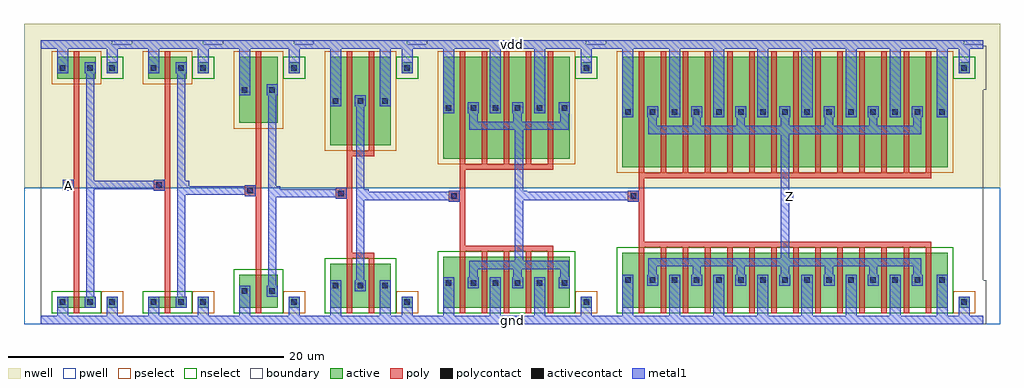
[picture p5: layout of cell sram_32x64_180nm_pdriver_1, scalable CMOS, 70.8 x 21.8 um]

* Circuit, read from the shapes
.subckt sram_32x64_180nm_pdriver_1 A Z gnd vdd
M1 sram_32x64_180nm_pinv_8_1/A A gnd gnd nfet w=0.8u l=0.4u
M2 sram_32x64_180nm_pinv_9_2/A sram_32x64_180nm_pinv_8_1/A gnd gnd nfet w=0.8u l=0.4u
M3 sram_32x64_180nm_pinv_10_3/A sram_32x64_180nm_pinv_9_2/A gnd gnd nfet w=2.4u l=0.4u
M4 sram_32x64_180nm_pinv_11_4/A sram_32x64_180nm_pinv_10_3/A gnd gnd nfet w=3.2u l=0.4u m=2
M5 sram_32x64_180nm_pinv_12_5/A sram_32x64_180nm_pinv_11_4/A gnd gnd nfet w=3.7u l=0.4u m=5
M6 Z sram_32x64_180nm_pinv_12_5/A gnd gnd nfet w=4u l=0.4u m=14
M7 sram_32x64_180nm_pinv_8_1/A A vdd vdd pfet w=1.6u l=0.4u
M8 sram_32x64_180nm_pinv_9_2/A sram_32x64_180nm_pinv_8_1/A vdd vdd pfet w=1.6u l=0.4u
M9 sram_32x64_180nm_pinv_10_3/A sram_32x64_180nm_pinv_9_2/A vdd vdd pfet w=4.8u l=0.4u
M10 sram_32x64_180nm_pinv_11_4/A sram_32x64_180nm_pinv_10_3/A vdd vdd pfet w=6.4u l=0.4u m=2
M11 sram_32x64_180nm_pinv_12_5/A sram_32x64_180nm_pinv_11_4/A vdd vdd pfet w=7.4u l=0.4u m=5
M12 Z sram_32x64_180nm_pinv_12_5/A vdd vdd pfet w=8u l=0.4u m=14
.ends

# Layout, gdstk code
import gdstk
lib = gdstk.Library(unit=1e-6, precision=1e-09)
def R(c, l, rs):  # rectangles x0, y0, x1, y1
    for r in rs: c.add(gdstk.rectangle(r[:2], r[2:], *l))
def A(c, l, x, y, w, h, nx, ny, dx, dy):  # array of equal rectangles
    R(c, l, [(x+i*dx, y+j*dy, x+i*dx+w, y+j*dy+h) for i in range(nx) for j in range(ny)])
pwell = (41, 0)
nwell = (42, 0)
active = (43, 0)
pselect = (44, 0)
nselect = (45, 0)
poly = (46, 0)
polycontact = (47, 0)
activecontact = (48, 0)
metal1 = (49, 0)
boundary = (63, 0)

sram_32x64_180nm_contact = lib.new_cell('sram_32x64_180nm_contact_12')
R(sram_32x64_180nm_contact, nwell, [(-1.2,-1.2,2,2)])
R(sram_32x64_180nm_contact, active, [(0,0,0.8,0.8)])
R(sram_32x64_180nm_contact, pselect, [(-0.4,-0.4,1.2,1.2)])
R(sram_32x64_180nm_contact, activecontact, [(0.2,0.2,0.6,0.6)])
R(sram_32x64_180nm_contact, metal1, [(0,0,0.8,0.8)])
R(sram_32x64_180nm_contact, boundary, [(-1.2,-1.2,2,2)])

sram_32x64_180nm_pmos_m1 = lib.new_cell('sram_32x64_180nm_pmos_m1_w1_600_sm1_dm1_da_p')
R(sram_32x64_180nm_pmos_m1, nwell, [(-1.2,-1.2,4,2.8)])
R(sram_32x64_180nm_pmos_m1, active, [(0,0,2.8,1.6)])
R(sram_32x64_180nm_pmos_m1, pselect, [(-0.4,-0.4,3.2,2)])
R(sram_32x64_180nm_pmos_m1, poly, [(1.2,-0.4,1.6,2), (1.2,-0.4,1.6,2)])
R(sram_32x64_180nm_pmos_m1, metal1, [(0,0.4,0.8,1.2), (2,0.4,2.8,1.2)])
R(sram_32x64_180nm_pmos_m1, boundary, [(-1.2,-1.2,4,2.8)])
sram_32x64_180nm_pmos_m1.add(gdstk.Reference(sram_32x64_180nm_contact, (0,0.4)))
sram_32x64_180nm_pmos_m1.add(gdstk.Reference(sram_32x64_180nm_contact, (2,0.4)))
sram_32x64_180nm_pmos_m1.add(gdstk.Label('G', (1.4,0.8), layer=46, texttype=0))
sram_32x64_180nm_pmos_m1.add(gdstk.Label('S', (0.4,0.8), layer=49, texttype=0))
sram_32x64_180nm_pmos_m1.add(gdstk.Label('D', (2.4,0.8), layer=49, texttype=0))

c_sram_32x64_180nm_contact = lib.new_cell('sram_32x64_180nm_contact_11')
R(c_sram_32x64_180nm_contact, pwell, [(-1.2,-1.2,2,2)])
R(c_sram_32x64_180nm_contact, active, [(0,0,0.8,0.8)])
R(c_sram_32x64_180nm_contact, nselect, [(-0.4,-0.4,1.2,1.2)])
R(c_sram_32x64_180nm_contact, activecontact, [(0.2,0.2,0.6,0.6)])
R(c_sram_32x64_180nm_contact, metal1, [(0,0,0.8,0.8)])
R(c_sram_32x64_180nm_contact, boundary, [(-1.2,-1.2,2,2)])

sram_32x64_180nm_nmos_m1 = lib.new_cell('sram_32x64_180nm_nmos_m1_w0_800_sm1_dm1_da_p')
R(sram_32x64_180nm_nmos_m1, pwell, [(-1.2,-1.2,4,2)])
R(sram_32x64_180nm_nmos_m1, active, [(0,0,2.8,0.8)])
R(sram_32x64_180nm_nmos_m1, nselect, [(-0.4,-0.4,3.2,1.2)])
R(sram_32x64_180nm_nmos_m1, poly, [(1.2,-0.4,1.6,1.2), (1.2,-0.4,1.6,1.2)])
R(sram_32x64_180nm_nmos_m1, metal1, [(0,0,0.8,0.8), (2,0,2.8,0.8)])
R(sram_32x64_180nm_nmos_m1, boundary, [(-1.2,-1.2,4,2)])
sram_32x64_180nm_nmos_m1.add(gdstk.Reference(c_sram_32x64_180nm_contact, (0,0)))
sram_32x64_180nm_nmos_m1.add(gdstk.Reference(c_sram_32x64_180nm_contact, (2,0)))
sram_32x64_180nm_nmos_m1.add(gdstk.Label('G', (1.4,0.4), layer=46, texttype=0))
sram_32x64_180nm_nmos_m1.add(gdstk.Label('S', (0.4,0.4), layer=49, texttype=0))
sram_32x64_180nm_nmos_m1.add(gdstk.Label('D', (2.4,0.4), layer=49, texttype=0))

c_sram_32x64_180nm_contact_ = lib.new_cell('sram_32x64_180nm_contact_13')
R(c_sram_32x64_180nm_contact_, nwell, [(-1.2,-1.2,2,2)])
R(c_sram_32x64_180nm_contact_, active, [(0,0,0.8,0.8)])
R(c_sram_32x64_180nm_contact_, nselect, [(-0.4,-0.4,1.2,1.2)])
R(c_sram_32x64_180nm_contact_, activecontact, [(0.2,0.2,0.6,0.6)])
R(c_sram_32x64_180nm_contact_, metal1, [(0,0,0.8,0.8)])
R(c_sram_32x64_180nm_contact_, boundary, [(-1.2,-1.2,2,2)])

c_sram_32x64_180nm_contact__ = lib.new_cell('sram_32x64_180nm_contact_14')
R(c_sram_32x64_180nm_contact__, pwell, [(-1.2,-1.2,2,2)])
R(c_sram_32x64_180nm_contact__, active, [(0,0,0.8,0.8)])
R(c_sram_32x64_180nm_contact__, pselect, [(-0.4,-0.4,1.2,1.2)])
R(c_sram_32x64_180nm_contact__, activecontact, [(0.2,0.2,0.6,0.6)])
R(c_sram_32x64_180nm_contact__, metal1, [(0,0,0.8,0.8)])
R(c_sram_32x64_180nm_contact__, boundary, [(-1.2,-1.2,2,2)])

c_sram_32x64_180nm_contact___ = lib.new_cell('sram_32x64_180nm_contact_15')
R(c_sram_32x64_180nm_contact___, poly, [(0,0,0.8,0.8)])
R(c_sram_32x64_180nm_contact___, polycontact, [(0.2,0.2,0.6,0.6)])
R(c_sram_32x64_180nm_contact___, metal1, [(0,0,0.8,0.8)])
R(c_sram_32x64_180nm_contact___, boundary, [(0,0,0.8,0.8)])

sram_32x64_180nm_pinv_8 = lib.new_cell('sram_32x64_180nm_pinv_8')
R(sram_32x64_180nm_pinv_8, pwell, [(-1.2,-0.3,7.8,9.6)])
R(sram_32x64_180nm_pinv_8, nwell, [(-1.2,9.6,7.8,21.5)])
R(sram_32x64_180nm_pinv_8, poly, [(2.4,2.1,2.8,17.1), (2,9.4,2.4,10.2)])
R(sram_32x64_180nm_pinv_8, metal1, [(0,-0.3,6.6,0.3), (1.2,-0.3,2,0.9), (4.8,0,5.6,1.3), (3.3,0.9,3.9,18.7), (1.6,9.4,2.4,10.2), (3.6,9.5,4.2,10.1), (1.2,17.9,2,20.3), (4.8,18.3,5.6,20), (0,19.7,6.6,20.3)])
R(sram_32x64_180nm_pinv_8, boundary, [(0,0,6.6,20), (0,0,6.6,20)])
sram_32x64_180nm_pinv_8.add(gdstk.Reference(sram_32x64_180nm_pmos_m1, (1.2,17.5)))
sram_32x64_180nm_pinv_8.add(gdstk.Reference(sram_32x64_180nm_nmos_m1, (1.2,0.9)))
sram_32x64_180nm_pinv_8.add(gdstk.Reference(c_sram_32x64_180nm_contact_, (4.8,17.9)))
sram_32x64_180nm_pinv_8.add(gdstk.Reference(c_sram_32x64_180nm_contact__, (4.8,0.9)))
sram_32x64_180nm_pinv_8.add(gdstk.Reference(c_sram_32x64_180nm_contact___, (1.6,9.4)))
sram_32x64_180nm_pinv_8.add(gdstk.Label('A', (2,9.8), layer=49, texttype=0))
sram_32x64_180nm_pinv_8.add(gdstk.Label('Z', (3.9,9.8), layer=49, texttype=0))
sram_32x64_180nm_pinv_8.add(gdstk.Label('gnd', (3.3,0), layer=49, texttype=0))
sram_32x64_180nm_pinv_8.add(gdstk.Label('vdd', (3.3,20), layer=49, texttype=0))

c_sram_32x64_180nm_pmos_m1 = lib.new_cell('sram_32x64_180nm_pmos_m1_w4_800_sm1_dm1_da_p')
R(c_sram_32x64_180nm_pmos_m1, nwell, [(-1.2,-1.2,4,6)])
R(c_sram_32x64_180nm_pmos_m1, active, [(0,0,2.8,4.8)])
R(c_sram_32x64_180nm_pmos_m1, pselect, [(-0.4,-0.4,3.2,5.2)])
R(c_sram_32x64_180nm_pmos_m1, poly, [(1.2,-0.4,1.6,5.2), (1.2,-0.4,1.6,5.2)])
R(c_sram_32x64_180nm_pmos_m1, metal1, [(0,2,0.8,2.8), (2,2,2.8,2.8)])
R(c_sram_32x64_180nm_pmos_m1, boundary, [(-1.2,-1.2,4,6)])
c_sram_32x64_180nm_pmos_m1.add(gdstk.Reference(sram_32x64_180nm_contact, (0,2)))
c_sram_32x64_180nm_pmos_m1.add(gdstk.Reference(sram_32x64_180nm_contact, (2,2)))
c_sram_32x64_180nm_pmos_m1.add(gdstk.Label('G', (1.4,2.4), layer=46, texttype=0))
c_sram_32x64_180nm_pmos_m1.add(gdstk.Label('S', (0.4,2.4), layer=49, texttype=0))
c_sram_32x64_180nm_pmos_m1.add(gdstk.Label('D', (2.4,2.4), layer=49, texttype=0))

c_sram_32x64_180nm_nmos_m1 = lib.new_cell('sram_32x64_180nm_nmos_m1_w2_400_sm1_dm1_da_p')
R(c_sram_32x64_180nm_nmos_m1, pwell, [(-1.2,-1.2,4,3.6)])
R(c_sram_32x64_180nm_nmos_m1, active, [(0,0,2.8,2.4)])
R(c_sram_32x64_180nm_nmos_m1, nselect, [(-0.4,-0.4,3.2,2.8)])
R(c_sram_32x64_180nm_nmos_m1, poly, [(1.2,-0.4,1.6,2.8), (1.2,-0.4,1.6,2.8)])
R(c_sram_32x64_180nm_nmos_m1, metal1, [(0,0.8,0.8,1.6), (2,0.8,2.8,1.6)])
R(c_sram_32x64_180nm_nmos_m1, boundary, [(-1.2,-1.2,4,3.6)])
c_sram_32x64_180nm_nmos_m1.add(gdstk.Reference(c_sram_32x64_180nm_contact, (0,0.8)))
c_sram_32x64_180nm_nmos_m1.add(gdstk.Reference(c_sram_32x64_180nm_contact, (2,0.8)))
c_sram_32x64_180nm_nmos_m1.add(gdstk.Label('G', (1.4,1.2), layer=46, texttype=0))
c_sram_32x64_180nm_nmos_m1.add(gdstk.Label('S', (0.4,1.2), layer=49, texttype=0))
c_sram_32x64_180nm_nmos_m1.add(gdstk.Label('D', (2.4,1.2), layer=49, texttype=0))

sram_32x64_180nm_pinv_9 = lib.new_cell('sram_32x64_180nm_pinv_9')
R(sram_32x64_180nm_pinv_9, pwell, [(-1.2,-0.3,7.8,9.6)])
R(sram_32x64_180nm_pinv_9, nwell, [(-1.2,9.6,7.8,21.5)])
R(sram_32x64_180nm_pinv_9, poly, [(2.4,3.7,2.8,13.9), (2,9,2.4,9.8)])
R(sram_32x64_180nm_pinv_9, metal1, [(0,-0.3,6.6,0.3), (1.2,-0.3,2,1.7), (4.8,0,5.6,1.3), (3.3,1.7,3.9,17.1), (1.6,9,2.4,9.8), (3.6,9.1,4.2,9.7), (1.2,16.3,2,20.3), (4.8,18.3,5.6,20), (0,19.7,6.6,20.3)])
R(sram_32x64_180nm_pinv_9, boundary, [(0,0,6.6,20), (0,0,6.6,20)])
sram_32x64_180nm_pinv_9.add(gdstk.Reference(c_sram_32x64_180nm_pmos_m1, (1.2,14.3)))
sram_32x64_180nm_pinv_9.add(gdstk.Reference(c_sram_32x64_180nm_nmos_m1, (1.2,0.9)))
sram_32x64_180nm_pinv_9.add(gdstk.Reference(c_sram_32x64_180nm_contact_, (4.8,17.9)))
sram_32x64_180nm_pinv_9.add(gdstk.Reference(c_sram_32x64_180nm_contact__, (4.8,0.9)))
sram_32x64_180nm_pinv_9.add(gdstk.Reference(c_sram_32x64_180nm_contact___, (1.6,9)))
sram_32x64_180nm_pinv_9.add(gdstk.Label('A', (2,9.4), layer=49, texttype=0))
sram_32x64_180nm_pinv_9.add(gdstk.Label('Z', (3.9,9.4), layer=49, texttype=0))
sram_32x64_180nm_pinv_9.add(gdstk.Label('gnd', (3.3,0), layer=49, texttype=0))
sram_32x64_180nm_pinv_9.add(gdstk.Label('vdd', (3.3,20), layer=49, texttype=0))

sram_32x64_180nm_pmos_m2 = lib.new_cell('sram_32x64_180nm_pmos_m2_w6_400_sm1_dm1_da_p')
R(sram_32x64_180nm_pmos_m2, nwell, [(-1.2,-1.2,5.6,7.6)])
R(sram_32x64_180nm_pmos_m2, active, [(0,0,4.4,6.4)])
R(sram_32x64_180nm_pmos_m2, pselect, [(-0.4,-0.4,4.8,6.8)])
R(sram_32x64_180nm_pmos_m2, poly, [(1.2,-0.8,3.2,-0.4), (1.2,-0.4,1.6,6.8), (2.8,-0.4,3.2,6.8)])
A(sram_32x64_180nm_pmos_m2, metal1, 0, 2.8, 0.8, 0.8, 3, 1, 1.8, 0)
R(sram_32x64_180nm_pmos_m2, boundary, [(-1.2,-1.2,5.6,7.6)])
sram_32x64_180nm_pmos_m2.add(gdstk.Reference(sram_32x64_180nm_contact, (0,2.8)))
sram_32x64_180nm_pmos_m2.add(gdstk.Reference(sram_32x64_180nm_contact, (1.8,2.8)))
sram_32x64_180nm_pmos_m2.add(gdstk.Reference(sram_32x64_180nm_contact, (3.6,2.8)))
sram_32x64_180nm_pmos_m2.add(gdstk.Label('G', (2.2,-0.6), layer=46, texttype=0))
sram_32x64_180nm_pmos_m2.add(gdstk.Label('S', (0.4,3.2), layer=49, texttype=0))
sram_32x64_180nm_pmos_m2.add(gdstk.Label('S', (4,3.2), layer=49, texttype=0))
sram_32x64_180nm_pmos_m2.add(gdstk.Label('D', (2.2,3.2), layer=49, texttype=0))

sram_32x64_180nm_nmos_m2 = lib.new_cell('sram_32x64_180nm_nmos_m2_w3_200_sm1_dm1_da_p')
R(sram_32x64_180nm_nmos_m2, pwell, [(-1.2,-1.2,5.6,4.4)])
R(sram_32x64_180nm_nmos_m2, active, [(0,0,4.4,3.2)])
R(sram_32x64_180nm_nmos_m2, nselect, [(-0.4,-0.4,4.8,3.6)])
R(sram_32x64_180nm_nmos_m2, poly, [(1.2,-0.4,1.6,3.6), (2.8,-0.4,3.2,3.6), (1.2,3.6,3.2,4)])
A(sram_32x64_180nm_nmos_m2, metal1, 0, 1.2, 0.8, 0.8, 3, 1, 1.8, 0)
R(sram_32x64_180nm_nmos_m2, boundary, [(-1.2,-1.2,5.6,4.4)])
sram_32x64_180nm_nmos_m2.add(gdstk.Reference(c_sram_32x64_180nm_contact, (0,1.2)))
sram_32x64_180nm_nmos_m2.add(gdstk.Reference(c_sram_32x64_180nm_contact, (1.8,1.2)))
sram_32x64_180nm_nmos_m2.add(gdstk.Reference(c_sram_32x64_180nm_contact, (3.6,1.2)))
sram_32x64_180nm_nmos_m2.add(gdstk.Label('G', (2.2,3.8), layer=46, texttype=0))
sram_32x64_180nm_nmos_m2.add(gdstk.Label('S', (0.4,1.6), layer=49, texttype=0))
sram_32x64_180nm_nmos_m2.add(gdstk.Label('S', (4,1.6), layer=49, texttype=0))
sram_32x64_180nm_nmos_m2.add(gdstk.Label('D', (2.2,1.6), layer=49, texttype=0))

sram_32x64_180nm_pinv_10 = lib.new_cell('sram_32x64_180nm_pinv_10')
R(sram_32x64_180nm_pinv_10, pwell, [(-1.2,-0.3,9.4,9.6)])
R(sram_32x64_180nm_pinv_10, nwell, [(-1.2,9.6,9.4,21.5)])
R(sram_32x64_180nm_pinv_10, poly, [(2.4,4.9,2.8,11.9), (2,8.8,2.4,9.6)])
R(sram_32x64_180nm_pinv_10, metal1, [(0,-0.3,8.2,0.3), (1.2,-0.3,2,2.1), (4.8,-0.3,5.6,2.1), (6.4,0,7.2,1.3), (3.1,2.1,3.7,16.3), (1.6,8.8,2.4,9.6), (3.4,8.9,4,9.5), (1.2,15.5,2,20.3), (4.8,15.5,5.6,20.3), (6.4,18.3,7.2,20), (0,19.7,8.2,20.3)])
R(sram_32x64_180nm_pinv_10, boundary, [(0,0,8.2,20), (0,0,8.2,20)])
sram_32x64_180nm_pinv_10.add(gdstk.Reference(sram_32x64_180nm_pmos_m2, (1.2,12.7)))
sram_32x64_180nm_pinv_10.add(gdstk.Reference(sram_32x64_180nm_nmos_m2, (1.2,0.9)))
sram_32x64_180nm_pinv_10.add(gdstk.Reference(c_sram_32x64_180nm_contact_, (6.4,17.9)))
sram_32x64_180nm_pinv_10.add(gdstk.Reference(c_sram_32x64_180nm_contact__, (6.4,0.9)))
sram_32x64_180nm_pinv_10.add(gdstk.Reference(c_sram_32x64_180nm_contact___, (1.6,8.8)))
sram_32x64_180nm_pinv_10.add(gdstk.Label('A', (2,9.2), layer=49, texttype=0))
sram_32x64_180nm_pinv_10.add(gdstk.Label('Z', (3.7,9.2), layer=49, texttype=0))
sram_32x64_180nm_pinv_10.add(gdstk.Label('gnd', (4.1,0), layer=49, texttype=0))
sram_32x64_180nm_pinv_10.add(gdstk.Label('vdd', (4.1,20), layer=49, texttype=0))

sram_32x64_180nm_pmos_m5 = lib.new_cell('sram_32x64_180nm_pmos_m5_w7_400_sm1_dm1_da_p')
R(sram_32x64_180nm_pmos_m5, nwell, [(-1.2,-1.2,10.4,8.6)])
R(sram_32x64_180nm_pmos_m5, active, [(0,0,9.2,7.4)])
R(sram_32x64_180nm_pmos_m5, pselect, [(-0.4,-0.4,9.6,7.8)])
A(sram_32x64_180nm_pmos_m5, poly, 1.2, -0.4, 0.4, 8.2, 5, 1, 1.6, 0)
R(sram_32x64_180nm_pmos_m5, poly, [(1.2,-0.8,8,-0.4)])
R(sram_32x64_180nm_pmos_m5, metal1, [(1.9,2.1,9.1,2.7), (1.9,2.4,2.5,3.7), (5.1,2.4,5.7,3.7), (8.5,2.4,9.1,3.7), (0,3.3,0.8,4.1), (3.4,3.3,4.2,4.1), (6.6,3.3,7.4,4.1)])
R(sram_32x64_180nm_pmos_m5, boundary, [(-1.2,-1.2,10.4,8.6)])
sram_32x64_180nm_pmos_m5.add(gdstk.Reference(sram_32x64_180nm_contact, (0,3.3)))
sram_32x64_180nm_pmos_m5.add(gdstk.Reference(sram_32x64_180nm_contact, (1.8,3.3)))
sram_32x64_180nm_pmos_m5.add(gdstk.Reference(sram_32x64_180nm_contact, (3.4,3.3)))
sram_32x64_180nm_pmos_m5.add(gdstk.Reference(sram_32x64_180nm_contact, (5,3.3)))
sram_32x64_180nm_pmos_m5.add(gdstk.Reference(sram_32x64_180nm_contact, (6.6,3.3)))
sram_32x64_180nm_pmos_m5.add(gdstk.Reference(sram_32x64_180nm_contact, (8.4,3.3)))
sram_32x64_180nm_pmos_m5.add(gdstk.Label('G', (4.6,-0.6), layer=46, texttype=0))
sram_32x64_180nm_pmos_m5.add(gdstk.Label('S', (7,3.7), layer=49, texttype=0))
sram_32x64_180nm_pmos_m5.add(gdstk.Label('S', (3.8,3.7), layer=49, texttype=0))
sram_32x64_180nm_pmos_m5.add(gdstk.Label('S', (0.4,3.7), layer=49, texttype=0))
sram_32x64_180nm_pmos_m5.add(gdstk.Label('D', (5.5,2.4), layer=49, texttype=0))

sram_32x64_180nm_nmos_m5 = lib.new_cell('sram_32x64_180nm_nmos_m5_w3_700_sm1_dm1_da_p')
R(sram_32x64_180nm_nmos_m5, pwell, [(-1.2,-1.2,10.4,4.9)])
R(sram_32x64_180nm_nmos_m5, active, [(0,0,9.2,3.7)])
R(sram_32x64_180nm_nmos_m5, nselect, [(-0.4,-0.4,9.6,4.1)])
A(sram_32x64_180nm_nmos_m5, poly, 1.2, -0.4, 0.4, 4.5, 5, 1, 1.6, 0)
R(sram_32x64_180nm_nmos_m5, poly, [(1.2,4.1,8,4.5)])
R(sram_32x64_180nm_nmos_m5, metal1, [(0,1.4,0.8,2.2), (3.4,1.4,4.2,2.2), (6.6,1.4,7.4,2.2), (1.9,1.8,2.5,3.2), (5.1,1.8,5.7,3.2), (8.5,1.8,9.1,3.2), (1.9,2.8,9.1,3.4)])
R(sram_32x64_180nm_nmos_m5, boundary, [(-1.2,-1.2,10.4,4.9)])
sram_32x64_180nm_nmos_m5.add(gdstk.Reference(c_sram_32x64_180nm_contact, (0,1.4)))
sram_32x64_180nm_nmos_m5.add(gdstk.Reference(c_sram_32x64_180nm_contact, (1.8,1.4)))
sram_32x64_180nm_nmos_m5.add(gdstk.Reference(c_sram_32x64_180nm_contact, (3.4,1.4)))
sram_32x64_180nm_nmos_m5.add(gdstk.Reference(c_sram_32x64_180nm_contact, (5,1.4)))
sram_32x64_180nm_nmos_m5.add(gdstk.Reference(c_sram_32x64_180nm_contact, (6.6,1.4)))
sram_32x64_180nm_nmos_m5.add(gdstk.Reference(c_sram_32x64_180nm_contact, (8.4,1.4)))
sram_32x64_180nm_nmos_m5.add(gdstk.Label('G', (4.6,4.3), layer=46, texttype=0))
sram_32x64_180nm_nmos_m5.add(gdstk.Label('S', (0.4,1.8), layer=49, texttype=0))
sram_32x64_180nm_nmos_m5.add(gdstk.Label('S', (7,1.8), layer=49, texttype=0))
sram_32x64_180nm_nmos_m5.add(gdstk.Label('S', (3.8,1.8), layer=49, texttype=0))
sram_32x64_180nm_nmos_m5.add(gdstk.Label('D', (5.5,3.1), layer=49, texttype=0))

sram_32x64_180nm_pinv_11 = lib.new_cell('sram_32x64_180nm_pinv_11')
R(sram_32x64_180nm_pinv_11, pwell, [(-1.2,-0.3,14.2,9.6)])
R(sram_32x64_180nm_pinv_11, nwell, [(-1.2,9.6,14.2,21.5)])
R(sram_32x64_180nm_pinv_11, poly, [(2.4,5.4,2.8,10.9), (2,8.6,2.4,9.4)])
R(sram_32x64_180nm_pinv_11, metal1, [(0,-0.3,13,0.3), (1.2,-0.3,2,2.3), (4.6,-0.3,5.4,2.3), (7.8,-0.3,8.6,2.3), (11.2,0,12,1.3), (6.4,3.7,7,14.4), (1.6,8.6,2.4,9.4), (6.7,8.8,7.3,9.4), (1.2,15,2,20.3), (4.6,15,5.4,20.3), (7.8,15,8.6,20.3), (11.2,18.3,12,20), (0,19.7,13,20.3)])
R(sram_32x64_180nm_pinv_11, boundary, [(0,0,13,20), (0,0,13,20)])
sram_32x64_180nm_pinv_11.add(gdstk.Reference(sram_32x64_180nm_pmos_m5, (1.2,11.7)))
sram_32x64_180nm_pinv_11.add(gdstk.Reference(sram_32x64_180nm_nmos_m5, (1.2,0.9)))
sram_32x64_180nm_pinv_11.add(gdstk.Reference(c_sram_32x64_180nm_contact_, (11.2,17.9)))
sram_32x64_180nm_pinv_11.add(gdstk.Reference(c_sram_32x64_180nm_contact__, (11.2,0.9)))
sram_32x64_180nm_pinv_11.add(gdstk.Reference(c_sram_32x64_180nm_contact___, (1.6,8.6)))
sram_32x64_180nm_pinv_11.add(gdstk.Label('A', (2,9), layer=49, texttype=0))
sram_32x64_180nm_pinv_11.add(gdstk.Label('Z', (7,9.1), layer=49, texttype=0))
sram_32x64_180nm_pinv_11.add(gdstk.Label('gnd', (6.5,0), layer=49, texttype=0))
sram_32x64_180nm_pinv_11.add(gdstk.Label('vdd', (6.5,20), layer=49, texttype=0))

c_sram_32x64_180nm_pmos_m1_ = lib.new_cell('sram_32x64_180nm_pmos_m14_w8_000_sm1_dm1_da_p')
R(c_sram_32x64_180nm_pmos_m1_, nwell, [(-1.2,-1.2,24.8,9.2)])
R(c_sram_32x64_180nm_pmos_m1_, active, [(0,0,23.6,8)])
R(c_sram_32x64_180nm_pmos_m1_, pselect, [(-0.4,-0.4,24,8.4)])
A(c_sram_32x64_180nm_pmos_m1_, poly, 1.2, -0.4, 0.4, 8.8, 14, 1, 1.6, 0)
R(c_sram_32x64_180nm_pmos_m1_, poly, [(1.2,-0.8,22.4,-0.4)])
A(c_sram_32x64_180nm_pmos_m1_, metal1, 1.9, 2.7, 0.6, 1.3, 7, 1, 3.2, 0)
A(c_sram_32x64_180nm_pmos_m1_, metal1, 3.4, 3.6, 0.8, 0.8, 6, 1, 3.2, 0)
R(c_sram_32x64_180nm_pmos_m1_, metal1, [(1.9,2.4,21.7,3), (0,3.6,0.8,4.4), (22.8,3.6,23.6,4.4)])
R(c_sram_32x64_180nm_pmos_m1_, boundary, [(-1.2,-1.2,24.8,9.2)])
c_sram_32x64_180nm_pmos_m1_.add(gdstk.Reference(sram_32x64_180nm_contact, (0,3.6)))
c_sram_32x64_180nm_pmos_m1_.add(gdstk.Reference(sram_32x64_180nm_contact, (1.8,3.6)))
c_sram_32x64_180nm_pmos_m1_.add(gdstk.Reference(sram_32x64_180nm_contact, (3.4,3.6)))
c_sram_32x64_180nm_pmos_m1_.add(gdstk.Reference(sram_32x64_180nm_contact, (5,3.6)))
c_sram_32x64_180nm_pmos_m1_.add(gdstk.Reference(sram_32x64_180nm_contact, (6.6,3.6)))
c_sram_32x64_180nm_pmos_m1_.add(gdstk.Reference(sram_32x64_180nm_contact, (8.2,3.6)))
c_sram_32x64_180nm_pmos_m1_.add(gdstk.Reference(sram_32x64_180nm_contact, (9.8,3.6)))
c_sram_32x64_180nm_pmos_m1_.add(gdstk.Reference(sram_32x64_180nm_contact, (11.4,3.6)))
c_sram_32x64_180nm_pmos_m1_.add(gdstk.Reference(sram_32x64_180nm_contact, (13,3.6)))
c_sram_32x64_180nm_pmos_m1_.add(gdstk.Reference(sram_32x64_180nm_contact, (14.6,3.6)))
c_sram_32x64_180nm_pmos_m1_.add(gdstk.Reference(sram_32x64_180nm_contact, (16.2,3.6)))
c_sram_32x64_180nm_pmos_m1_.add(gdstk.Reference(sram_32x64_180nm_contact, (17.8,3.6)))
c_sram_32x64_180nm_pmos_m1_.add(gdstk.Reference(sram_32x64_180nm_contact, (19.4,3.6)))
c_sram_32x64_180nm_pmos_m1_.add(gdstk.Reference(sram_32x64_180nm_contact, (21,3.6)))
c_sram_32x64_180nm_pmos_m1_.add(gdstk.Reference(sram_32x64_180nm_contact, (22.8,3.6)))
c_sram_32x64_180nm_pmos_m1_.add(gdstk.Label('G', (11.8,-0.6), layer=46, texttype=0))
c_sram_32x64_180nm_pmos_m1_.add(gdstk.Label('S', (13.4,4), layer=49, texttype=0))
c_sram_32x64_180nm_pmos_m1_.add(gdstk.Label('S', (3.8,4), layer=49, texttype=0))
c_sram_32x64_180nm_pmos_m1_.add(gdstk.Label('S', (7,4), layer=49, texttype=0))
c_sram_32x64_180nm_pmos_m1_.add(gdstk.Label('S', (19.8,4), layer=49, texttype=0))
c_sram_32x64_180nm_pmos_m1_.add(gdstk.Label('S', (0.4,4), layer=49, texttype=0))
c_sram_32x64_180nm_pmos_m1_.add(gdstk.Label('S', (10.2,4), layer=49, texttype=0))
c_sram_32x64_180nm_pmos_m1_.add(gdstk.Label('S', (16.6,4), layer=49, texttype=0))
c_sram_32x64_180nm_pmos_m1_.add(gdstk.Label('S', (23.2,4), layer=49, texttype=0))
c_sram_32x64_180nm_pmos_m1_.add(gdstk.Label('D', (11.8,2.7), layer=49, texttype=0))

c_sram_32x64_180nm_nmos_m1_ = lib.new_cell('sram_32x64_180nm_nmos_m14_w4_000_sm1_dm1_da_p')
R(c_sram_32x64_180nm_nmos_m1_, pwell, [(-1.2,-1.2,24.8,5.2)])
R(c_sram_32x64_180nm_nmos_m1_, active, [(0,0,23.6,4)])
R(c_sram_32x64_180nm_nmos_m1_, nselect, [(-0.4,-0.4,24,4.4)])
A(c_sram_32x64_180nm_nmos_m1_, poly, 1.2, -0.4, 0.4, 4.8, 14, 1, 1.6, 0)
R(c_sram_32x64_180nm_nmos_m1_, poly, [(1.2,4.4,22.4,4.8)])
A(c_sram_32x64_180nm_nmos_m1_, metal1, 3.4, 1.6, 0.8, 0.8, 6, 1, 3.2, 0)
A(c_sram_32x64_180nm_nmos_m1_, metal1, 1.9, 2, 0.6, 1.3, 7, 1, 3.2, 0)
R(c_sram_32x64_180nm_nmos_m1_, metal1, [(0,1.6,0.8,2.4), (22.8,1.6,23.6,2.4), (1.9,3,21.7,3.6)])
R(c_sram_32x64_180nm_nmos_m1_, boundary, [(-1.2,-1.2,24.8,5.2)])
c_sram_32x64_180nm_nmos_m1_.add(gdstk.Reference(c_sram_32x64_180nm_contact, (0,1.6)))
c_sram_32x64_180nm_nmos_m1_.add(gdstk.Reference(c_sram_32x64_180nm_contact, (1.8,1.6)))
c_sram_32x64_180nm_nmos_m1_.add(gdstk.Reference(c_sram_32x64_180nm_contact, (3.4,1.6)))
c_sram_32x64_180nm_nmos_m1_.add(gdstk.Reference(c_sram_32x64_180nm_contact, (5,1.6)))
c_sram_32x64_180nm_nmos_m1_.add(gdstk.Reference(c_sram_32x64_180nm_contact, (6.6,1.6)))
c_sram_32x64_180nm_nmos_m1_.add(gdstk.Reference(c_sram_32x64_180nm_contact, (8.2,1.6)))
c_sram_32x64_180nm_nmos_m1_.add(gdstk.Reference(c_sram_32x64_180nm_contact, (9.8,1.6)))
c_sram_32x64_180nm_nmos_m1_.add(gdstk.Reference(c_sram_32x64_180nm_contact, (11.4,1.6)))
c_sram_32x64_180nm_nmos_m1_.add(gdstk.Reference(c_sram_32x64_180nm_contact, (13,1.6)))
c_sram_32x64_180nm_nmos_m1_.add(gdstk.Reference(c_sram_32x64_180nm_contact, (14.6,1.6)))
c_sram_32x64_180nm_nmos_m1_.add(gdstk.Reference(c_sram_32x64_180nm_contact, (16.2,1.6)))
c_sram_32x64_180nm_nmos_m1_.add(gdstk.Reference(c_sram_32x64_180nm_contact, (17.8,1.6)))
c_sram_32x64_180nm_nmos_m1_.add(gdstk.Reference(c_sram_32x64_180nm_contact, (19.4,1.6)))
c_sram_32x64_180nm_nmos_m1_.add(gdstk.Reference(c_sram_32x64_180nm_contact, (21,1.6)))
c_sram_32x64_180nm_nmos_m1_.add(gdstk.Reference(c_sram_32x64_180nm_contact, (22.8,1.6)))
c_sram_32x64_180nm_nmos_m1_.add(gdstk.Label('G', (11.8,4.6), layer=46, texttype=0))
c_sram_32x64_180nm_nmos_m1_.add(gdstk.Label('S', (10.2,2), layer=49, texttype=0))
c_sram_32x64_180nm_nmos_m1_.add(gdstk.Label('S', (13.4,2), layer=49, texttype=0))
c_sram_32x64_180nm_nmos_m1_.add(gdstk.Label('S', (19.8,2), layer=49, texttype=0))
c_sram_32x64_180nm_nmos_m1_.add(gdstk.Label('S', (7,2), layer=49, texttype=0))
c_sram_32x64_180nm_nmos_m1_.add(gdstk.Label('S', (3.8,2), layer=49, texttype=0))
c_sram_32x64_180nm_nmos_m1_.add(gdstk.Label('S', (16.6,2), layer=49, texttype=0))
c_sram_32x64_180nm_nmos_m1_.add(gdstk.Label('S', (0.4,2), layer=49, texttype=0))
c_sram_32x64_180nm_nmos_m1_.add(gdstk.Label('S', (23.2,2), layer=49, texttype=0))
c_sram_32x64_180nm_nmos_m1_.add(gdstk.Label('D', (11.8,3.3), layer=49, texttype=0))

sram_32x64_180nm_pinv_12 = lib.new_cell('sram_32x64_180nm_pinv_12')
R(sram_32x64_180nm_pinv_12, pwell, [(-1.2,-0.3,28.6,9.6)])
R(sram_32x64_180nm_pinv_12, nwell, [(-1.2,9.6,28.6,21.5)])
R(sram_32x64_180nm_pinv_12, poly, [(2.4,5.7,2.8,10.3), (2,8.6,2.4,9.4)])
A(sram_32x64_180nm_pinv_12, metal1, 4.6, -0.3, 0.8, 2.8, 6, 1, 3.2, 0)
A(sram_32x64_180nm_pinv_12, metal1, 4.6, 14.7, 0.8, 5.6, 6, 1, 3.2, 0)
R(sram_32x64_180nm_pinv_12, metal1, [(0,-0.3,27.4,0.3), (1.2,-0.3,2,2.5), (24,-0.3,24.8,2.5), (25.6,0,26.4,1.3), (12.7,3.9,13.3,14.1), (1.6,8.6,2.4,9.4), (13,8.7,13.6,9.3), (1.2,14.7,2,20.3), (24,14.7,24.8,20.3), (25.6,18.3,26.4,20), (0,19.7,27.4,20.3)])
R(sram_32x64_180nm_pinv_12, boundary, [(0,0,27.4,20), (0,0,27.4,20)])
sram_32x64_180nm_pinv_12.add(gdstk.Reference(c_sram_32x64_180nm_pmos_m1_, (1.2,11.1)))
sram_32x64_180nm_pinv_12.add(gdstk.Reference(c_sram_32x64_180nm_nmos_m1_, (1.2,0.9)))
sram_32x64_180nm_pinv_12.add(gdstk.Reference(c_sram_32x64_180nm_contact_, (25.6,17.9)))
sram_32x64_180nm_pinv_12.add(gdstk.Reference(c_sram_32x64_180nm_contact__, (25.6,0.9)))
sram_32x64_180nm_pinv_12.add(gdstk.Reference(c_sram_32x64_180nm_contact___, (1.6,8.6)))
sram_32x64_180nm_pinv_12.add(gdstk.Label('A', (2,9), layer=49, texttype=0))
sram_32x64_180nm_pinv_12.add(gdstk.Label('Z', (13.3,9), layer=49, texttype=0))
sram_32x64_180nm_pinv_12.add(gdstk.Label('gnd', (13.7,0), layer=49, texttype=0))
sram_32x64_180nm_pinv_12.add(gdstk.Label('vdd', (13.7,20), layer=49, texttype=0))

sram_32x64_180nm_pdriver = lib.new_cell('sram_32x64_180nm_pdriver_1')
R(sram_32x64_180nm_pdriver, pwell, [(-1.2,-0.3,69.6,9.6)])
R(sram_32x64_180nm_pdriver, nwell, [(-1.2,9.6,69.6,21.5)])
R(sram_32x64_180nm_pdriver, metal1, [(0,-0.3,68.4,0.3), (23.2,8.7,23.8,9.3), (23.5,8.7,30,9.3), (34.7,8.7,35.3,9.3), (35,8.7,43,9.3), (54,8.7,54.6,9.3), (16.8,8.9,17.4,9.5), (17.1,8.9,21.8,9.5), (23.2,9,23.8,9.2), (34.7,9,35.3,9.1), (10.2,9.1,10.8,9.7), (10.5,9.1,15.2,9.7), (16.8,9.2,17.4,9.4), (1.6,9.4,2.4,10.2), (10.2,9.4,10.8,9.8), (3.9,9.5,8.6,10.1), (0,19.7,68.4,20.3)])
R(sram_32x64_180nm_pdriver, boundary, [(0,0,68.4,20), (0,0,68.4,20)])
sram_32x64_180nm_pdriver.add(gdstk.Reference(sram_32x64_180nm_pinv_8, (0,0)))
sram_32x64_180nm_pdriver.add(gdstk.Reference(sram_32x64_180nm_pinv_8, (6.6,0)))
sram_32x64_180nm_pdriver.add(gdstk.Reference(sram_32x64_180nm_pinv_9, (13.2,0)))
sram_32x64_180nm_pdriver.add(gdstk.Reference(sram_32x64_180nm_pinv_10, (19.8,0)))
sram_32x64_180nm_pdriver.add(gdstk.Reference(sram_32x64_180nm_pinv_11, (28,0)))
sram_32x64_180nm_pdriver.add(gdstk.Reference(sram_32x64_180nm_pinv_12, (41,0)))
sram_32x64_180nm_pdriver.add(gdstk.Label('Z', (54.3,9), layer=49, texttype=0))
sram_32x64_180nm_pdriver.add(gdstk.Label('A', (2,9.8), layer=49, texttype=0))
sram_32x64_180nm_pdriver.add(gdstk.Label('gnd', (34.2,0), layer=49, texttype=0))
sram_32x64_180nm_pdriver.add(gdstk.Label('vdd', (34.2,20), layer=49, texttype=0))

lib.write_gds('sram_32x64_180nm_pdriver_1.gds')
